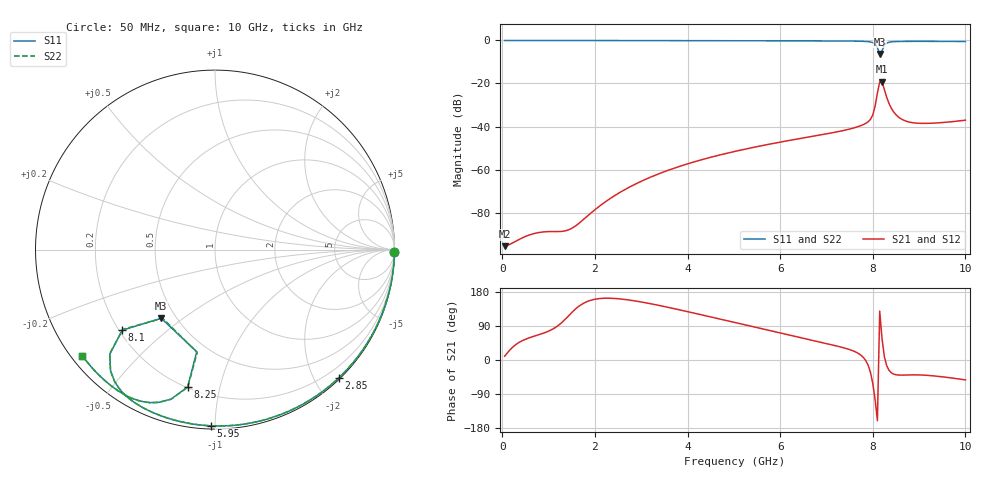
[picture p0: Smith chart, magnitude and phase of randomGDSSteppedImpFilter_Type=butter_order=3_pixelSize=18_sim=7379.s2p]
! freq	dB(S11)	phase(S11)	dB(S12)	phase(S12)
!  dB(S21)	phase(S21)	dB(S22)	phase(S22)
!S-par simulation data
#  GHz  S  DB  R 50
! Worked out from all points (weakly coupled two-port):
!   200 points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, 50 MHz to 10 GHz, reference 50 ohm
!   highest |S21| = -19.14 dB at 8.2 GHz (marker M1); lowest = -95.6 dB at 50 MHz (marker M2)
!   lowest |S11| = -6.3 dB at 8.15 GHz (marker M3), VSWR 2.89, Z = 20.8 - j20.8 ohm
!   |S11| at or under -10 dB: nowhere
!   |S22| runs from -6.4 to 0.0 dB; largest |S21 - S12| = 0
!   S11 on the Smith chart (normalised r, x): 50 MHz: open; 2.85 GHz: 0.02, -2.36; 5.95 GHz: 0.02, -0.98; 8.1 GHz: 0.21, -0.36; 8.25 GHz: 0.20, -0.80; 10 GHz: 0.03, -0.35
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0.05  -0.00 -0.8  -95.59 9.9  -95.59 9.9  -0.00 -0.8
1.75  -0.04 -28.6  -83.23 149.5  -83.23 149.5  -0.04 -28.6
1.95  -0.04 -31.7  -79.54 159.0  -79.54 159.0  -0.04 -31.7
2.35  -0.05 -38.1  -73.16 162.9  -73.16 162.9  -0.05 -38.1
2.85  -0.06 -45.9  -66.99 156.2  -66.99 156.2  -0.06 -45.9
3.4  -0.07 -54.3  -61.79 143.6  -61.79 143.6  -0.07 -54.3
5.05  -0.12 -78.7  -51.42 98.2  -51.42 98.2  -0.12 -78.7
5.95  -0.16 -91.4  -47.44 72.9  -47.44 72.9  -0.16 -91.4
6.7  -0.20 -102.0  -44.54 51.9  -44.54 51.9  -0.20 -102.0
7.55  -0.29 -115.4  -40.90 25.3  -40.90 25.3  -0.29 -115.4
7.9  -0.55 -124.9  -37.78 -13.8  -37.78 -13.8  -0.55 -125.0
8  -1.00 -130.8  -34.63 -61.8  -34.63 -61.8  -1.01 -130.9
8.05  -1.65 -135.2  -30.54 -104.5  -30.54 -104.5  -1.69 -135.4
8.1  -3.28 -139.0  -24.43 -160.1  -24.43 -160.1  -3.36 -139.1
8.15  -6.27 -128.1  -19.29 129.0  -19.29 129.0  -6.36 -127.3
8.2  -4.77 -100.2  -19.14 55.9  -19.14 55.9  -4.70 -99.8
8.25  -2.16 -101.2  -22.72 9.0  -22.72 9.0  -2.14 -101.2
8.35  -0.85 -110.2  -29.26 -27.0  -29.26 -27.0  -0.85 -110.2
8.55  -0.48 -118.3  -35.50 -39.7  -35.50 -39.7  -0.48 -118.2
8.8  -0.41 -123.7  -37.98 -39.3  -37.98 -39.3  -0.41 -123.7
9.25  -0.42 -130.9  -38.48 -41.2  -38.48 -41.2  -0.42 -130.9
10  -0.48 -141.4  -37.04 -52.5  -37.04 -52.5  -0.48 -141.3
